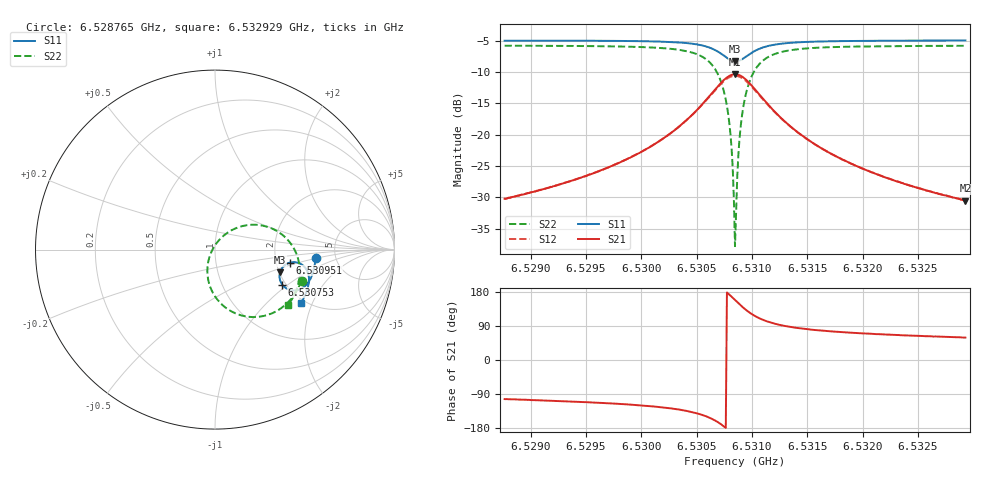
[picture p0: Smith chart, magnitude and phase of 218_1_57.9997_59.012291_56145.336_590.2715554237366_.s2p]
#  HZ  S  RI  R  50.00
! Rohde & Schwarz Vector Network Analyzer
! Rohde-Schwarz,ZNB20-2Port,1311601062101988,3.16
! Created: UTC 3/21/2024, 1:00:01 AM
! freq[Hz]  re:S11  im:S11  re:S21  im:S21  re:S12  im:S12  re:S22  im:S22
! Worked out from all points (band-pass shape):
!   401 points, 6.528765 GHz to 6.532929 GHz, reference 50 ohm
!   highest |S21| = -10.35 dB at 6.530847 GHz (marker M1); lowest = -30.5 dB at 6.532929 GHz (marker M2)
!   |S21| within 3 dB of the highest: 6.53064 GHz to 6.531055 GHz (415.7 kHz wide, 0.00637 % of centre)
!   lowest |S11| = -8.3 dB at 6.530847 GHz (marker M3), VSWR 2.25, Z = 101 - j30 ohm
!   |S11| at or under -10 dB: nowhere
!   |S22| runs from -37.8 to -5.8 dB; largest |S21 - S12| = 0.012
!   S11 on the Smith chart (normalised r, x): 6.528765 GHz: 3.49, -0.50; 6.530753 GHz: 1.91, -0.91; 6.530951 GHz: 2.38, -0.42; 6.532929 GHz: 1.90, -1.66
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6.5287651e9  0.5603 -0.0486  -0.00699 -0.03  -0.00761 -0.0299  0.4821 -0.1735
6.5294626e9  0.5511 -0.1067  -0.0163 -0.0427  -0.0172 -0.0424  0.4508 -0.2372
6.53016e9  0.5244 -0.1763  -0.0495 -0.0734  -0.0516 -0.072  0.369 -0.326
6.5303995e9  0.498 -0.2068  -0.0887 -0.0927  -0.0916 -0.0896  0.2889 -0.3652
6.5305764e9  0.4547 -0.2267  -0.1563 -0.0993  -0.1587 -0.0929  0.1641 -0.3707
6.5306805e9  0.4102 -0.2222  -0.2252 -0.0734  -0.2245 -0.0638  0.0482 -0.3146
6.5307534e9  0.3751 -0.1956  -0.2761 -0.0154  -0.2706 -0.0053  -0.0269 -0.2077
6.5307951e9  0.3619 -0.1681  -0.292 0.0372  -0.2832 0.0452  -0.0427 -0.1178
6.5308159e9  0.3594 -0.1518  -0.2925 0.067  -0.2826 0.0735  -0.038 -0.0689
6.5308263e9  0.3594 -0.1435  -0.2907 0.082  -0.2803 0.0877  -0.0319 -0.0444
6.5308367e9  0.3605 -0.1349  -0.2872 0.0971  -0.2766 0.1018  -0.0234 -0.0206
6.5308471e9  0.3623 -0.1268  -0.2825 0.1118  -0.2715 0.1156  -0.0127 0.0024
6.5308575e9  0.3652 -0.1186  -0.276 0.1259  -0.2651 0.1287  0.000407 0.0243
6.5308679e9  0.3689 -0.111  -0.2683 0.1394  -0.2575 0.1411  0.0155 0.0447
6.5308887e9  0.3783 -0.0971  -0.2495 0.1632  -0.2393 0.1633  0.0509 0.0801
6.5308992e9  0.3837 -0.0912  -0.2387 0.1735  -0.229 0.1726  0.0702 0.0946
6.5309512e9  0.4165 -0.0725  -0.1788 0.2052  -0.1719 0.2022  0.1748 0.1356
6.5310241e9  0.4591 -0.0722  -0.1041 0.2071  -0.1007 0.2042  0.2999 0.1241
6.5311282e9  0.4963 -0.0939  -0.04 0.1767  -0.0383 0.1749  0.4029 0.0567
6.5315446e9  0.5235 -0.173  0.0152 0.0853  0.0163 0.085  0.4726 -0.1345
6.5322421e9  0.5058 -0.2447  0.0174 0.041  0.0183 0.0407  0.4428 -0.2498
6.5329291e9  0.4802 -0.2966  0.0152 0.0255  0.0158 0.0254  0.4077 -0.3095
